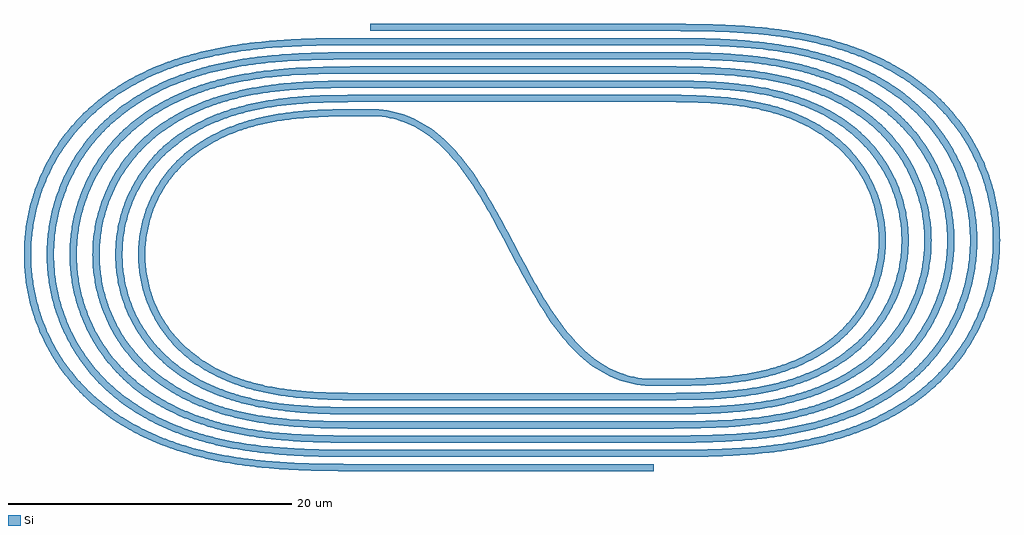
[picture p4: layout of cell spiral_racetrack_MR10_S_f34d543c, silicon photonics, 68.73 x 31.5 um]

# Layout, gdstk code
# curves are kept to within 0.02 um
from math import pi, radians
import gdstk
lib = gdstk.Library(unit=1e-6, precision=1e-09)
def R(c, l, rs):  # rectangles x0, y0, x1, y1
    for r in rs: c.add(gdstk.rectangle(r[:2], r[2:], *l))
def P(c, l, *ps):  # polygons
    for p in ps: c.add(gdstk.Polygon(p, *l))
Si = (1, 0)

bend_euler_gdsfactorypc_ = lib.new_cell('bend_euler_gdsfactorypc_55922bc5')
P(bend_euler_gdsfactorypc_, Si, [(0,-0.25),(0,0.25),(3.288,0.277),(5.529,0.379),(7.754,0.608),(9.612,0.938),(11.106,1.322),(12.56,1.823),(13.961,2.454),(15.144,3.131),(15.708,3.511),(16.384,4.027),(17.022,4.588),(17.504,5.07),(18.383,6.121),(18.774,6.684),(19.215,7.418),(19.528,8.028),(19.804,8.655),(20.043,9.297),(20.287,10.118),(20.438,10.786),(20.549,11.463),(20.62,12.144),(20.652,13),(20.62,13.856),(20.549,14.537),(20.438,15.214),(20.287,15.882),(20.043,16.703),(19.804,17.345),(19.528,17.972),(19.215,18.582),(18.774,19.316),(18.383,19.879),(17.504,20.93),(17.022,21.412),(16.384,21.973),(15.708,22.489),(15.144,22.869),(13.961,23.546),(12.56,24.177),(11.106,24.678),(9.612,25.062),(7.754,25.392),(5.529,25.621),(3.288,25.723),(0,25.75),(0,26.25),(3.127,26.227),(5.39,26.131),(7.303,25.955),(9.204,25.657),(10.232,25.432),(11.08,25.207),(11.918,24.944),(12.744,24.642),(13.554,24.298),(14.345,23.91),(15.113,23.477),(15.708,23.097),(16.7,22.36),(17.619,21.529),(18.456,20.6),(19.094,19.738),(19.653,18.823),(20.199,17.698),(20.626,16.523),(20.929,15.309),(21.087,14.249),(21.152,13),(21.087,11.751),(20.929,10.691),(20.626,9.477),(20.199,8.302),(19.653,7.177),(19.094,6.262),(18.456,5.4),(17.744,4.598),(16.971,3.868),(15.998,3.104),(15.113,2.523),(14.031,1.929),(12.907,1.423),(11.918,1.056),(10.742,0.699),(9.548,0.413),(8.342,0.191),(6.955,0.005),(5.738,-0.107),(3.997,-0.202)])

c_bend_euler_gdsfactorypc_ = lib.new_cell('bend_euler_gdsfactorypc_7570dd34')
P(c_bend_euler_gdsfactorypc_, Si, [(0,-0.25),(0,0.25),(3.611,0.281),(6.008,0.393),(7.201,0.497),(8.389,0.641),(10.404,1.002),(12.052,1.431),(13.656,1.994),(15.046,2.627),(16.368,3.387),(16.929,3.767),(17.602,4.278),(18.241,4.831),(18.847,5.428),(19.305,5.94),(19.837,6.614),(20.229,7.179),(20.674,7.914),(21.067,8.678),(21.343,9.307),(21.584,9.951),(21.835,10.772),(22.028,11.609),(22.164,12.457),(22.241,13.313),(22.259,14),(22.241,14.687),(22.164,15.543),(22.028,16.391),(21.835,17.228),(21.584,18.049),(21.343,18.693),(21.067,19.322),(20.674,20.086),(20.229,20.821),(19.837,21.386),(19.305,22.06),(18.847,22.572),(18.241,23.169),(17.602,23.722),(16.929,24.233),(16.368,24.613),(15.046,25.373),(13.656,26.006),(12.052,26.569),(10.404,26.998),(8.389,27.359),(7.201,27.503),(6.008,27.607),(3.611,27.719),(0,27.75),(0,28.25),(3.278,28.227),(5.871,28.118),(7.253,28.001),(8.287,27.878),(10.172,27.559),(12.03,27.097),(13.026,26.777),(13.843,26.469),(14.645,26.124),(15.429,25.738),(16.192,25.31),(16.931,24.841),(18.053,23.999),(18.96,23.172),(19.801,22.246),(20.549,21.243),(21.196,20.173),(21.738,19.046),(22.168,17.872),(22.363,17.184),(22.519,16.487),(22.699,15.249),(22.759,14),(22.699,12.751),(22.519,11.513),(22.363,10.816),(22.168,10.128),(21.738,8.954),(21.196,7.827),(20.549,6.757),(19.914,5.893),(19.086,4.956),(18.32,4.229),(17.361,3.462),(16.342,2.78),(15.274,2.182),(14.166,1.664),(12.861,1.166),(11.695,0.807),(10.172,0.441),(8.803,0.197),(7.253,-0.001),(5.871,-0.118),(4.142,-0.204)])

bend_s_gdsfactorypcompo_ = lib.new_cell('bend_s_gdsfactorypcompo_341bf6c3')
P(bend_s_gdsfactorypcompo_, Si, [(20,-19.25),(19.38,-19.226),(18.495,-19.102),(17.933,-18.963),(17.132,-18.677),(16.624,-18.437),(15.901,-18.009),(15.22,-17.506),(14.579,-16.937),(13.972,-16.307),(13.398,-15.623),(12.85,-14.894),(12.157,-13.86),(11.017,-11.927),(8.857,-7.883),(7.912,-6.208),(6.915,-4.643),(6.39,-3.918),(5.843,-3.241),(5.271,-2.618),(4.671,-2.055),(4.04,-1.557),(3.601,-1.265),(2.672,-0.783),(1.927,-0.517),(1.136,-0.339),(0.58,-0.273),(0,-0.25),(0,0.25),(0.62,0.226),(1.505,0.102),(2.067,-0.037),(2.868,-0.323),(3.376,-0.563),(4.099,-0.991),(4.78,-1.494),(5.421,-2.063),(6.028,-2.693),(6.602,-3.377),(7.15,-4.106),(7.843,-5.14),(8.983,-7.073),(11.143,-11.117),(12.088,-12.792),(13.085,-14.357),(13.61,-15.082),(14.157,-15.759),(14.729,-16.382),(15.329,-16.945),(15.96,-17.443),(16.399,-17.735),(17.328,-18.217),(18.073,-18.483),(18.864,-18.661),(19.42,-18.727),(20,-18.75)])

c_bend_euler_gdsfactorypc__ = lib.new_cell('bend_euler_gdsfactorypc_ef0cefc1')
P(c_bend_euler_gdsfactorypc__, Si, [(0,-0.25),(0,0.25),(3.107,0.277),(5.169,0.374),(7.216,0.589),(9.067,0.929),(10.386,1.281),(11.671,1.734),(12.909,2.298),(13.94,2.888),(15.042,3.677),(15.556,4.117),(16.043,4.589),(16.502,5.094),(16.928,5.628),(17.319,6.188),(17.673,6.772),(17.989,7.378),(18.265,8.002),(18.501,8.643),(18.695,9.298),(18.847,9.964),(18.956,10.638),(19.022,11.317),(19.044,12),(19.022,12.683),(18.956,13.362),(18.847,14.036),(18.695,14.702),(18.501,15.357),(18.265,15.998),(17.989,16.622),(17.673,17.228),(17.319,17.812),(16.928,18.372),(16.502,18.906),(16.043,19.411),(15.556,19.883),(15.042,20.323),(13.94,21.112),(12.909,21.702),(11.671,22.266),(10.386,22.719),(9.067,23.071),(7.216,23.411),(5.169,23.626),(3.107,23.723),(0,23.75),(0,24.25),(2.773,24.231),(5.032,24.137),(6.941,23.953),(8.665,23.669),(10.197,23.297),(11.034,23.035),(11.858,22.73),(12.664,22.379),(13.294,22.065),(14.504,21.341),(15.493,20.601),(16.277,19.887),(16.998,19.093),(17.639,18.234),(18.195,17.317),(18.66,16.351),(19.031,15.344),(19.303,14.307),(19.474,13.249),(19.544,12),(19.492,10.929),(19.338,9.868),(19.083,8.827),(18.729,7.814),(18.195,6.683),(17.639,5.766),(16.998,4.907),(16.277,4.113),(15.628,3.513),(14.794,2.86),(13.908,2.281),(12.981,1.774),(12.02,1.337),(11.034,0.965),(10.028,0.656),(9.008,0.403),(7.632,0.146),(6.421,-0.015),(5.205,-0.125),(3.815,-0.201)])

c_bend_euler_gdsfactorypc___ = lib.new_cell('bend_euler_gdsfactorypc_c91d0292')
P(c_bend_euler_gdsfactorypc___, Si, [(0,-0.25),(0,0.25),(2.604,0.273),(4.503,0.368),(6.214,0.563),(7.73,0.858),(8.883,1.184),(9.845,1.539),(10.772,1.97),(11.655,2.481),(12.614,3.182),(13.475,3.996),(14.121,4.779),(14.755,5.779),(15.188,6.697),(15.556,7.822),(15.77,8.987),(15.828,10),(15.77,11.013),(15.556,12.178),(15.188,13.303),(14.755,14.221),(14.121,15.221),(13.475,16.004),(12.614,16.818),(11.655,17.519),(10.772,18.03),(9.845,18.461),(8.883,18.816),(7.73,19.142),(6.214,19.437),(4.503,19.632),(2.604,19.727),(0,19.75),(0,20.25),(2.268,20.235),(4.192,20.156),(5.766,20.005),(7.158,19.779),(8.531,19.447),(9.707,19.055),(10.844,18.555),(11.47,18.218),(12.075,17.842),(12.795,17.316),(13.594,16.602),(14.195,15.94),(14.73,15.224),(15.194,14.46),(15.583,13.655),(15.893,12.817),(16.122,11.953),(16.267,11.071),(16.328,10),(16.285,9.107),(16.157,8.222),(15.893,7.183),(15.583,6.345),(15.194,5.54),(14.73,4.776),(14.195,4.06),(13.594,3.398),(13.07,2.912),(12.368,2.361),(11.624,1.872),(10.844,1.445),(10.036,1.077),(9.207,0.765),(8.361,0.505),(7.331,0.256),(6.463,0.096),(5.417,-0.047),(4.192,-0.156),(2.967,-0.217)])

straight_gdsfactorypcom_ = lib.new_cell('straight_gdsfactorypcom_7f5722a8')
R(straight_gdsfactorypcom_, Si, [(0,-0.25,20,0.25)])

c_bend_euler_gdsfactorypc____ = lib.new_cell('bend_euler_gdsfactorypc_a21b2e9f')
P(c_bend_euler_gdsfactorypc____, Si, [(0,-0.25),(0,0.25),(2.785,0.273),(4.69,0.36),(6.581,0.556),(8.276,0.865),(9.604,1.222),(10.734,1.627),(11.824,2.125),(12.859,2.724),(13.824,3.425),(14.337,3.873),(14.818,4.354),(15.575,5.272),(16.214,6.276),(16.523,6.882),(16.789,7.508),(17.147,8.643),(17.363,9.812),(17.436,11),(17.363,12.188),(17.147,13.357),(16.789,14.492),(16.523,15.118),(16.214,15.724),(15.575,16.728),(14.818,17.646),(14.337,18.127),(13.824,18.575),(12.859,19.276),(11.824,19.875),(10.734,20.373),(9.604,20.778),(8.276,21.135),(6.581,21.444),(4.69,21.64),(2.785,21.727),(0,21.75),(0,22.25),(2.622,22.231),(4.55,22.15),(6.126,22.007),(7.868,21.733),(9.415,21.357),(10.091,21.145),(10.922,20.837),(12.21,20.237),(13.28,19.598),(14.14,18.962),(14.935,18.244),(15.653,17.447),(16.185,16.729),(16.652,15.967),(17.122,15.003),(17.488,13.995),(17.748,12.955),(17.88,12.071),(17.936,11),(17.88,9.929),(17.748,9.045),(17.488,8.005),(17.122,6.997),(16.652,6.033),(16.185,5.271),(15.653,4.553),(15.061,3.883),(14.413,3.268),(13.573,2.605),(12.829,2.115),(11.894,1.6),(10.922,1.163),(10.091,0.855),(9.074,0.547),(8.042,0.302),(7,0.113),(5.952,-0.027),(4.901,-0.126),(3.498,-0.205)])

c_bend_euler_gdsfactorypc_____ = lib.new_cell('bend_euler_gdsfactorypc_e43bae08')
P(c_bend_euler_gdsfactorypc_____, Si, [(0,-0.25),(0,0.25),(3.448,0.273),(6.368,0.398),(7.735,0.516),(8.926,0.66),(10.11,0.848),(11.117,1.049),(12.935,1.522),(14.545,2.083),(16.098,2.783),(16.846,3.187),(17.572,3.63),(18.272,4.11),(18.943,4.629),(19.582,5.187),(20.189,5.786),(20.762,6.429),(21.292,7.108),(21.777,7.819),(22.216,8.561),(22.606,9.328),(22.945,10.12),(23.234,10.931),(23.469,11.76),(23.651,12.601),(23.757,13.282),(23.84,14.139),(23.867,15),(23.84,15.861),(23.757,16.718),(23.651,17.399),(23.469,18.24),(23.234,19.069),(22.945,19.88),(22.606,20.672),(22.216,21.439),(21.777,22.181),(21.292,22.892),(20.762,23.571),(20.189,24.214),(19.582,24.813),(18.943,25.371),(18.272,25.89),(17.572,26.37),(16.846,26.813),(16.098,27.217),(14.545,27.917),(12.935,28.478),(11.117,28.951),(10.11,29.152),(8.926,29.34),(7.735,29.484),(6.368,29.602),(3.448,29.727),(0,29.75),(0,30.25),(3.631,30.223),(6.056,30.124),(8.478,29.903),(9.512,29.759),(10.712,29.547),(11.564,29.363),(12.746,29.056),(13.746,28.743),(14.73,28.382),(15.535,28.041),(16.48,27.583),(17.397,27.069),(18.136,26.597),(19.261,25.757),(20.302,24.814),(21.146,23.891),(22.003,22.748),(22.739,21.523),(23.345,20.229),(23.814,18.879),(24.109,17.664),(24.311,16.249),(24.366,14.821),(24.294,13.573),(24.074,12.161),(23.71,10.779),(23.276,9.606),(22.739,8.477),(22.003,7.252),(21.259,6.247),(20.428,5.313),(19.529,4.469),(18.566,3.706),(17.397,2.931),(16.324,2.337),(15.054,1.75),(13.746,1.257),(12.409,0.85),(10.883,0.488),(9.512,0.241),(7.96,0.037),(6.402,-0.101),(4.67,-0.192),(2.939,-0.236)])

spiral_racetrack_mr10_s_ = lib.new_cell('spiral_racetrack_MR10_S_f34d543c')
spiral_racetrack_mr10_s_.add(gdstk.Reference(bend_euler_gdsfactorypc_, (0,3), rotation=pi))
spiral_racetrack_mr10_s_.add(gdstk.Reference(c_bend_euler_gdsfactorypc_, (0,4), rotation=pi))
spiral_racetrack_mr10_s_.add(gdstk.Reference(bend_s_gdsfactorypcompo_, (0,0)))
spiral_racetrack_mr10_s_.add(gdstk.Reference(c_bend_euler_gdsfactorypc__, (0,2), rotation=pi))
spiral_racetrack_mr10_s_.add(gdstk.Reference(c_bend_euler_gdsfactorypc___, (0,0), rotation=pi))
spiral_racetrack_mr10_s_.add(gdstk.Reference(straight_gdsfactorypcom_, (0,-25)))
spiral_racetrack_mr10_s_.add(gdstk.Reference(straight_gdsfactorypcom_, (0,-24)))
spiral_racetrack_mr10_s_.add(gdstk.Reference(straight_gdsfactorypcom_, (0,-23)))
spiral_racetrack_mr10_s_.add(gdstk.Reference(straight_gdsfactorypcom_, (0,-22)))
spiral_racetrack_mr10_s_.add(gdstk.Reference(straight_gdsfactorypcom_, (0,-21)))
spiral_racetrack_mr10_s_.add(gdstk.Reference(straight_gdsfactorypcom_, (0,-20)))
spiral_racetrack_mr10_s_.add(gdstk.Reference(c_bend_euler_gdsfactorypc____, (20,-20)))
spiral_racetrack_mr10_s_.add(gdstk.Reference(straight_gdsfactorypcom_, (20,1), rotation=pi))
spiral_racetrack_mr10_s_.add(gdstk.Reference(straight_gdsfactorypcom_, (20,2), rotation=pi))
spiral_racetrack_mr10_s_.add(gdstk.Reference(straight_gdsfactorypcom_, (20,3), rotation=pi))
spiral_racetrack_mr10_s_.add(gdstk.Reference(straight_gdsfactorypcom_, (20,4), rotation=pi))
spiral_racetrack_mr10_s_.add(gdstk.Reference(straight_gdsfactorypcom_, (20,5), rotation=pi))
spiral_racetrack_mr10_s_.add(gdstk.Reference(straight_gdsfactorypcom_, (20,6), rotation=pi))
spiral_racetrack_mr10_s_.add(gdstk.Reference(c_bend_euler_gdsfactorypc_, (20,-23)))
spiral_racetrack_mr10_s_.add(gdstk.Reference(bend_euler_gdsfactorypc_, (20,-22)))
spiral_racetrack_mr10_s_.add(gdstk.Reference(c_bend_euler_gdsfactorypc_____, (20,-24)))
spiral_racetrack_mr10_s_.add(gdstk.Reference(c_bend_euler_gdsfactorypc___, (20,-19)))
spiral_racetrack_mr10_s_.add(gdstk.Reference(c_bend_euler_gdsfactorypc____, (0,1), rotation=pi))
spiral_racetrack_mr10_s_.add(gdstk.Reference(c_bend_euler_gdsfactorypc__, (20,-21)))
spiral_racetrack_mr10_s_.add(gdstk.Reference(c_bend_euler_gdsfactorypc_____, (0,5), rotation=pi))

lib.write_gds('spiral_racetrack_MR10_S_f34d543c.gds')
